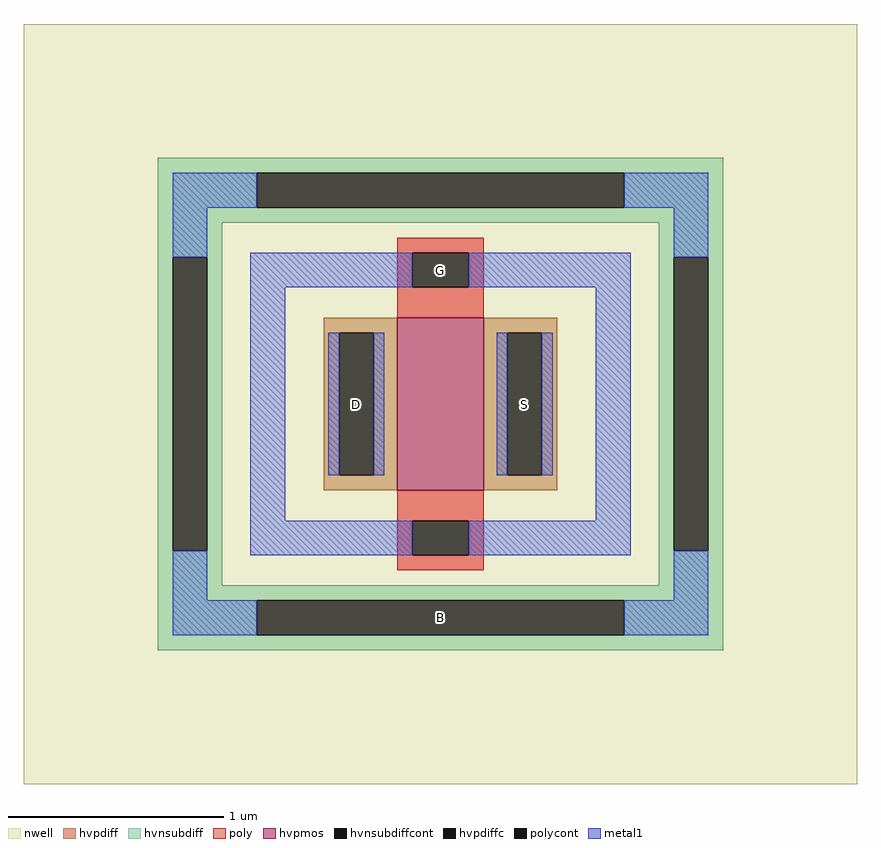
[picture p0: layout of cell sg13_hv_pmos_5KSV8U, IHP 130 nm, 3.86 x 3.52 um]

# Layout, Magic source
magic
tech ihp-sg13cmos5l
<< nwell >>
rect -193 -176 193 176
<< hvpmos >>
rect -20 -40 20 40
<< hvpdiff >>
rect -54 33 -20 40
rect -54 -33 -47 33
rect -31 -33 -20 33
rect -54 -40 -20 -33
rect 20 33 54 40
rect 20 -33 31 33
rect 47 -33 54 33
rect 20 -40 54 -33
<< hvpdiffc >>
rect -47 -33 -31 33
rect 31 -33 47 33
<< hvnsubdiff >>
rect -131 107 131 114
rect -131 91 -85 107
rect 85 91 131 107
rect -131 84 131 91
rect -131 68 -101 84
rect -131 -68 -124 68
rect -108 -68 -101 68
rect 101 68 131 84
rect -131 -84 -101 -68
rect 101 -68 108 68
rect 124 -68 131 68
rect 101 -84 131 -68
rect -131 -91 131 -84
rect -131 -107 -85 -91
rect 85 -107 131 -91
rect -131 -114 131 -107
<< hvnsubdiffcont >>
rect -85 91 85 107
rect -124 -68 -108 68
rect 108 -68 124 68
rect -85 -107 85 -91
<< poly >>
rect -20 70 20 77
rect -20 54 -13 70
rect 13 54 20 70
rect -20 40 20 54
rect -20 -54 20 -40
rect -20 -70 -13 -54
rect 13 -70 20 -54
rect -20 -77 20 -70
<< polycont >>
rect -13 54 13 70
rect -13 -70 13 -54
<< metal1 >>
rect -124 91 -85 107
rect 85 91 124 107
rect -124 68 -108 91
rect -124 -91 -108 -68
rect -88 54 -13 70
rect 13 54 88 70
rect -88 -54 -72 54
rect -52 -33 -47 33
rect -31 -33 -26 33
rect 26 -33 31 33
rect 47 -33 52 33
rect 72 -54 88 54
rect -88 -70 -13 -54
rect 13 -70 88 -54
rect 108 68 124 91
rect 108 -91 124 -68
rect -124 -107 -85 -91
rect 85 -107 124 -91
<< labels >>
rlabel hvnsubdiffcont 0 -99 0 -99 0 B
port 1 nsew
rlabel hvpdiffc -39 0 -39 0 0 D
port 2 nsew
rlabel hvpdiffc 39 0 39 0 0 S
port 3 nsew
rlabel polycont 0 62 0 62 0 G
port 4 nsew
<< properties >>
string FIXED_BBOX -116 -99 116 99
string gencell sg13_hv_pmos
string library sg13cmos5l
string parameters w 0.8 l 0.4 m 1 ng 1 diffcov 100 polycov 100 guard 1 glc 1 grc 1 gtc 1 gbc 1 tbcov 100 rlcov 100 topc 1 botc 1 poverlap 0 doverlap 1 lmin 0.4 wmin 0.15 class mosfet compatible {sg13_lv_pmos sg13_hv_pmos} full_metal 1 conn_gates 1 gate_ring 1 ccols 1 viasrc 0 viadrn 0 viagate 0 viagb 0 viagr 0 viagl 0 viagt 0 doports 1
<< end >>
